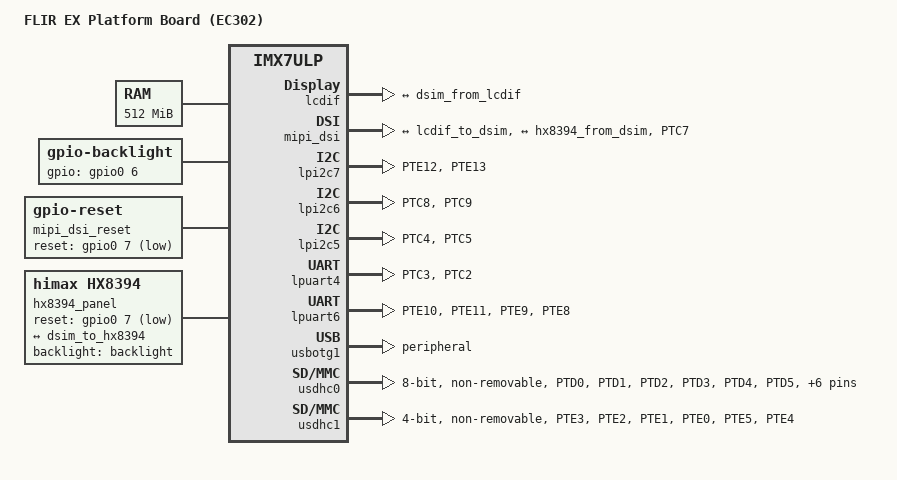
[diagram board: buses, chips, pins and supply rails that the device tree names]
/*
 * Copyright 2023 FLIR
 *
 * This program is free software; you can redistribute it and/or modify
 * it under the terms of the GNU General Public License version 2 as
 * published by the Free Software Foundation.
 */

/dts-v1/;

#include "imx7ulp.dtsi"

/ {
	model = "FLIR EX Platform Board (EC302)";
	compatible = "flir,imx7ulp-ec302", "fsl,imx7ulp", "Generic DT based system";

	chosen {
		stdout-path = &lpuart4;
	};

	memory {
		device_type = "memory";
		reg = <0x60000000 0x20000000>;
	};

	regulators {
		compatible = "simple-bus";
		#address-cells = <1>;
		#size-cells = <0>;
	};

	backlight: backlight {
		compatible = "gpio-backlight";
		pinctrl-names = "default";
		pinctrl-0 = <&pinctrl_backlight>;
		gpios = <&gpio0 6 GPIO_ACTIVE_HIGH>;
		default-on;
		status = "okay";
	};

	mipi_dsi_reset: mipi-dsi-reset {
		compatible = "gpio-reset";
		reset-gpios = <&gpio0 7 GPIO_ACTIVE_LOW>;
		reset-delay-us = <5000>;
		#reset-cells = <0>;
	};

	dsi_host: dsi-host {
		compatible = "northwest,mipi-dsi";
		status = "okay";
	};

	hx8394_panel {
		compatible = "himax,hx8394";
		reset-gpios = <&gpio0 7 GPIO_ACTIVE_LOW>;
		backlight = <&backlight>;
		status = "okay";

		port {
			hx8394_from_dsim: endpoint {
				remote-endpoint = <&dsim_to_hx8394>;
			};
		};
	};
};

&iomuxc1 {
	pinctrl-names = "default";

	pinctrl_usdhc0: usdhc0grp {
		fsl,pins = <
			IMX7ULP_PAD_PTD0__PTD0         0x20000     /* USDHC0 RST */
			IMX7ULP_PAD_PTD1__SDHC0_CMD    0x43
			IMX7ULP_PAD_PTD2__SDHC0_CLK    0x10042
			IMX7ULP_PAD_PTD3__SDHC0_D7     0x43
			IMX7ULP_PAD_PTD4__SDHC0_D6     0x43
			IMX7ULP_PAD_PTD5__SDHC0_D5     0x43
			IMX7ULP_PAD_PTD6__SDHC0_D4     0x43
			IMX7ULP_PAD_PTD7__SDHC0_D3     0x43
			IMX7ULP_PAD_PTD8__SDHC0_D2     0x43
			IMX7ULP_PAD_PTD9__SDHC0_D1     0x43
			IMX7ULP_PAD_PTD10__SDHC0_D0    0x43
			IMX7ULP_PAD_PTD11__SDHC0_DQS   0x42
		>;
	};

	pinctrl_usdhc1: usdhc1grp {
		fsl,pins = <
			IMX7ULP_PAD_PTE3__SDHC1_CMD    0x43
			IMX7ULP_PAD_PTE2__SDHC1_CLK    0x10042
			IMX7ULP_PAD_PTE1__SDHC1_D0     0x43
			IMX7ULP_PAD_PTE0__SDHC1_D1     0x43
			IMX7ULP_PAD_PTE5__SDHC1_D2     0x43
			IMX7ULP_PAD_PTE4__SDHC1_D3     0x43
		>;
	};

	pinctrl_mipi_dsi_reset: mipi_dsi_reset_grp {
		fsl,pins = <
			IMX7ULP_PAD_PTC7__PTC7    0x3 /* DISPLAY_RESET */
			>;
	};

	pinctrl_backlight: backlight_grp {
		fsl,pins = <
			IMX7ULP_PAD_PTC6__PTC6    0x3
		>;
	};

	pinctrl_lpi2c5: lpi2c5grp {
		fsl,pins = <
			IMX7ULP_PAD_PTC4__LPI2C5_SCL   0x27
			IMX7ULP_PAD_PTC5__LPI2C5_SDA   0x27
		>;
	};

	pinctrl_lpi2c6: lpi2c6grp {
		fsl,pins = <
			IMX7ULP_PAD_PTC8__LPI2C6_SCL   0x27
			IMX7ULP_PAD_PTC9__LPI2C6_SDA   0x27
		>;
	};

	pinctrl_lpi2c7: lpi2c7grp {
		fsl,pins = <
			IMX7ULP_PAD_PTE12__LPI2C7_SCL   0x27
			IMX7ULP_PAD_PTE13__LPI2C7_SDA   0x27
		>;
	};

	pinctrl_lpuart4: lpuart4grp {
		fsl,pins = <
			IMX7ULP_PAD_PTC3__LPUART4_RX   0x3
			IMX7ULP_PAD_PTC2__LPUART4_TX   0x3
		>;
	};

	pinctrl_lpuart6: lpuart6grp {
		fsl,pins = <
			IMX7ULP_PAD_PTE10__LPUART6_TX      0x3
			IMX7ULP_PAD_PTE11__LPUART6_RX      0x3
			IMX7ULP_PAD_PTE9__LPUART6_RTS_B    0x3
			IMX7ULP_PAD_PTE8__LPUART6_CTS_B    0x3
		>;
	};
};

&lcdif {
	#address-cells = <1>;
	#size-cells = <0>;
	status = "okay";
	display = <&display0>;

	display0: display@0 {
		bits-per-pixel = <24>;
		bus-width = <24>;
	};

	lcdif_disp0: port@0 {
		reg = <0>;

		lcdif_to_dsim: endpoint {
			remote-endpoint = <&dsim_from_lcdif>;
		};
	};
};

&mipi_dsi {
	#address-cells = <1>;
	#size-cells = <0>;
	pinctrl-names = "default";
	pinctrl-0 = <&pinctrl_mipi_dsi_reset>;
	lcd_panel = "TRULY-VGA-SHERLOCK";
	resets = <&mipi_dsi_reset>;
	status = "okay";

	port@0 {
		dsim_from_lcdif: endpoint {
			remote-endpoint = <&lcdif_to_dsim>;
		};
	};

	port@1 {
		dsim_to_hx8394: endpoint {
			remote-endpoint = <&hx8394_from_dsim>;
		};
	};
};

/* Touch screen */
&lpi2c7 {
	#address-cells = <1>;
	#size-cells = <0>;
	pinctrl-names = "default",  "sleep";
	pinctrl-0 = <&pinctrl_lpi2c7>;
	pinctrl-1 = <&pinctrl_lpi2c7>;
	status = "okay";
};

/*  IO expander for keyboard, VCAM, Lepton, Temp sensor 1 and 2, EEPROM */
&lpi2c6 {
	#address-cells = <1>;
	#size-cells = <0>;
	pinctrl-names = "default", "sleep";
	pinctrl-0 = <&pinctrl_lpi2c6>;
	pinctrl-1 = <&pinctrl_lpi2c6>;
	status = "okay";
};

/*  PMIC */
&lpi2c5 {
	#address-cells = <1>;
	#size-cells = <0>;
	pinctrl-names = "default", "sleep";
	pinctrl-0 = <&pinctrl_lpi2c5>;
	pinctrl-1 = <&pinctrl_lpi2c5>;
	status = "okay";
};

&lpuart4 { /* console */
	pinctrl-names = "default", "sleep";
	pinctrl-0 = <&pinctrl_lpuart4>;
	pinctrl-1 = <&pinctrl_lpuart4>;
	status = "okay";
};

&lpuart6 { /* BT */
	pinctrl-names = "default", "sleep";
	pinctrl-0 = <&pinctrl_lpuart6>;
	pinctrl-1 = <&pinctrl_lpuart6>;
	status = "okay";
};

&usbotg1 {
	dr_mode = "peripheral";
	srp-disable;
	hnp-disable;
	adp-disable;
	status = "okay";
};

/* emmc */
&usdhc0 {
	pinctrl-names = "default", "sleep";
	pinctrl-0 = <&pinctrl_usdhc0>;
	pinctrl-1 = <&pinctrl_usdhc0>;
	bus-width = <8>;
	non-removable;
	status = "okay";
};

/* wifi */
&usdhc1 {
	pinctrl-names = "default", "sleep";
	pinctrl-0 = <&pinctrl_usdhc1>;
	pinctrl-1 = <&pinctrl_usdhc1>;
	bus-width = <4>;
	pm-ignore-notify;
	keep-power-in-suspend;
	non-removable;
	wifi-host;
	status = "okay";
};
